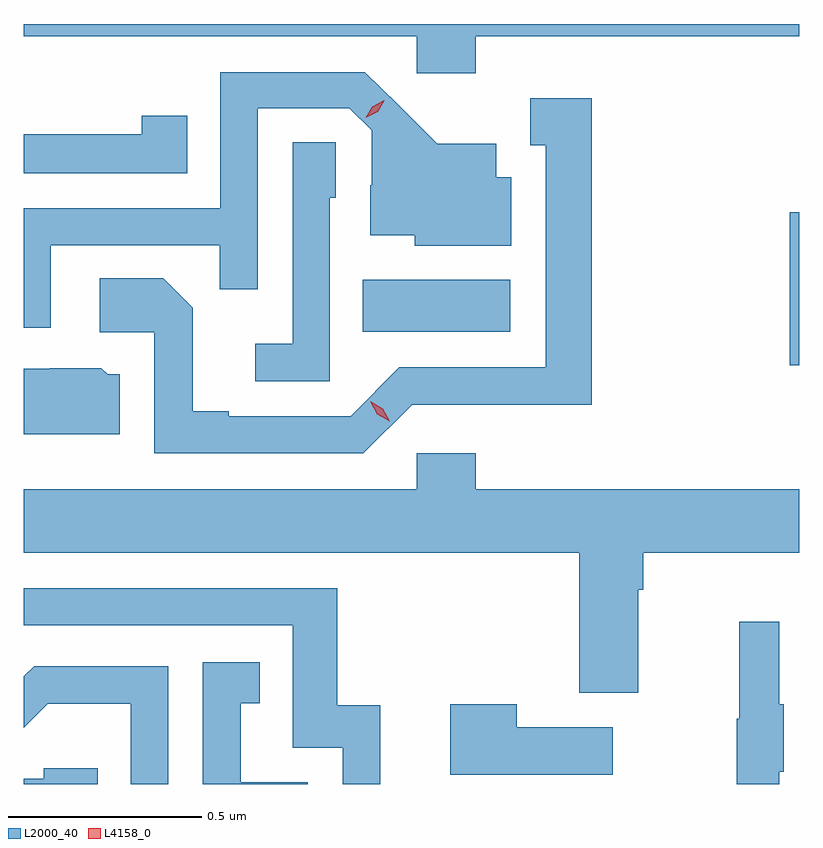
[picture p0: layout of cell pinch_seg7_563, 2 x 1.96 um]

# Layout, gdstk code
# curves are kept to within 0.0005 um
import gdstk
lib = gdstk.Library(unit=1e-6, precision=1e-09)
def R(c, l, rs):  # rectangles x0, y0, x1, y1
    for r in rs: c.add(gdstk.rectangle(r[:2], r[2:], *l))
def P(c, l, *ps):  # polygons
    for p in ps: c.add(gdstk.Polygon(p, *l))
L2000_40 = (2000, 40)
L4158_0 = (4158, 0)

pinch_seg7_563 = lib.new_cell('pinch_seg7_563')
R(pinch_seg7_563, L2000_40, [(148.238,1081.02,148.262,1081.414), (147.136,1081.106,147.517,1081.24)])
P(pinch_seg7_563, L2000_40, [(147.428,1081.868),(148.262,1081.868),(148.262,1081.9),(146.262,1081.9),(146.262,1081.868),(147.276,1081.868),(147.276,1081.773),(147.428,1081.773)],
  [(146.331,1081.329),(146.767,1081.329),(146.767,1081.216),(146.865,1081.216),(146.865,1081.683),(147.102,1081.683),(147.159,1081.626),(147.159,1081.484),(147.155,1081.484),(147.155,1081.355),(147.27,1081.355),(147.27,1081.328),(147.52,1081.328),(147.52,1081.504),(147.481,1081.504),(147.481,1081.591),(147.329,1081.591),(147.142,1081.776),(146.769,1081.776),(146.769,1081.425),(146.262,1081.425),(146.262,1081.116),(146.331,1081.116)],
  [(147.264,1080.918),(147.486,1080.918),(147.486,1080.917),(147.727,1080.917),(147.727,1081.708),(147.569,1081.708),(147.569,1081.587),(147.608,1081.587),(147.608,1081.014),(147.231,1081.014),(147.105,1080.888),(146.791,1080.888),(146.791,1080.901),(146.697,1080.901),(146.697,1081.168),(146.621,1081.244),(146.457,1081.244),(146.457,1081.104),(146.598,1081.104),(146.598,1080.792),(147.138,1080.792)],
  [(146.684,1081.663),(146.566,1081.663),(146.566,1081.616),(146.262,1081.616),(146.262,1081.515),(146.684,1081.515)],
  [(147.051,1081.452),(147.066,1081.452),(147.066,1081.595),(146.955,1081.595),(146.955,1081.075),(146.859,1081.075),(146.859,1080.978),(147.051,1080.978)],
  [(146.509,1080.996),(146.478,1080.996),(146.462,1081.012),(146.328,1081.012),(146.328,1081.011),(146.262,1081.011),(146.262,1080.842),(146.509,1080.842)],
  [(147.847,1080.44),(147.86,1080.44),(147.86,1080.536),(148.262,1080.536),(148.262,1080.7),(147.428,1080.7),(147.428,1080.793),(147.276,1080.793),(147.276,1080.7),(146.262,1080.7),(146.262,1080.536),(147.695,1080.536),(147.695,1080.174),(147.847,1080.174)],
  [(147.182,1080.142),(147.071,1080.142),(147.071,1080.444),(146.262,1080.444),(146.262,1080.348),(146.955,1080.348),(146.955,1080.033),(147.084,1080.033),(147.084,1079.939),(147.182,1079.939)],
  [(148.211,1079.971),(148.222,1079.971),(148.222,1080.145),(148.211,1080.145),(148.211,1080.358),(148.108,1080.358),(148.108,1080.108),(148.101,1080.108),(148.101,1079.939),(148.211,1079.939)],
  [(146.994,1079.943),(146.821,1079.943),(146.821,1080.147),(146.87,1080.147),(146.87,1080.253),(146.724,1080.253),(146.724,1079.939),(146.994,1079.939)],
  [(146.634,1080.243),(146.288,1080.243),(146.262,1080.217),(146.262,1080.084),(146.324,1080.146),(146.538,1080.146),(146.538,1079.939),(146.634,1079.939)],
  [(147.781,1080.085),(147.533,1080.085),(147.533,1080.145),(147.362,1080.145),(147.362,1079.963),(147.781,1079.963)],
  [(146.453,1079.979),(146.313,1079.979),(146.313,1079.952),(146.262,1079.952),(146.262,1079.939),(146.453,1079.939)])
P(pinch_seg7_563, L4158_0, [(147.206,1080.875),(147.174,1080.893),(147.156,1080.926),(147.156,1080.926),(147.156,1080.926),(147.188,1080.907),(147.206,1080.875),(147.206,1080.875)],
  [(147.144,1081.658),(147.144,1081.658),(147.161,1081.687),(147.192,1081.703),(147.192,1081.703),(147.192,1081.702),(147.175,1081.673),(147.144,1081.658)])

lib.write_gds('pinch_seg7_563.gds')
